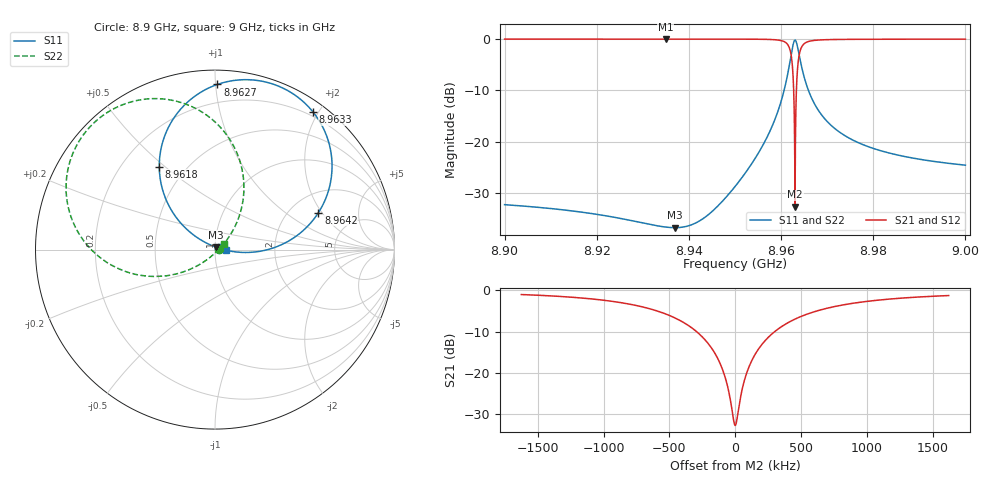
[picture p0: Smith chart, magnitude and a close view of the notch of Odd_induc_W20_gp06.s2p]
! Sonnet Data File
! From: emgraph Version : 16.52
! From Project: Resonator2_cp
! Data is De-embedded
! Data File Written: 10/09/2017 11:12:09
!< HDATE 10/09/2017 07:45:37
!< MDATE 10/09/2017 07:45:37
!< PARAMS
!< Length = 400.0
!< Pwid1 = 2000.0
!< Pwid2 = 2000.0
!< Air_gap = 12.0
!< Width = 20.0
!< gap = 6.0
!< END PARAMS
# GHZ S MA R 40.14000
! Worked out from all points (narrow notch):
!   1595 points, 8.9 GHz to 9 GHz, reference 40.14 ohm
!   highest |S21| = 0.00 dB at 8.935 GHz (marker M1); lowest = -32.7 dB at 8.963 GHz (marker M2)
!   notch at M2: 32.7 dB deep, 271 kHz wide at half that depth
!   lowest |S11| = -36.8 dB at 8.9369 GHz (marker M3), VSWR 1.03, Z = 40.5 + j1.1 ohm
!   |S11| at or under -10 dB: start of sweep to 8.9607 GHz; 8.965932 GHz to end of sweep
!   |S22| runs from -36.8 to -0.2 dB; largest |S21 - S12| = 0
!   S11 on the Smith chart (normalised r, x): 8.9 GHz: 1.05, +0.02; 8.9618 GHz: 0.36, +0.48; 8.9627 GHz: 0.08, +1.01; 8.9633 GHz: 0.14, +1.93; 8.9642 GHz: 2.82, +1.85; 9 GHz: 1.13, -0.01
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8.9  0.02428 18.1  0.9997 -76.3  0.9997 -76.3  0.02427 9.3
!< P1 F=8.9 Eeff=(5.24798951 -2.3049e-5) Z0=(40.1339254 8.93825e-5) R=0.0 C=0.0
!< P2 F=8.9 Eeff=(5.24798951 -2.3049e-5) Z0=(40.1339254 8.93825e-5) R=0.0 C=0.0
8.9167  0.02054 26.0  0.9998 -76.7  0.9998 -76.7  0.02052 0.6
8.9334  0.01503 54.9  0.9999 -77.5  0.9999 -77.5  0.01499 -29.8
8.935  0.01468 61.1  0.9999 -77.6  0.9999 -77.6  0.01463 -36.2
8.9369  0.01449 69.8  0.9999 -77.7  0.9999 -77.7  0.01443 -45.3
8.95  0.03645 134.6  0.9992 -79.8  0.9992 -79.8  0.03636 -114.4
8.9589  0.1756 144.9  0.9834 -88.0  0.9834 -88.0  0.1754 -141.6
8.9606  0.3095 138.9  0.948 -96.0  0.948 -96.0  0.3092 -151.8
8.9618  0.5568 123.9  0.821 -111.8  0.821 -111.8  0.5564 -169.5
8.96229  0.7445 109.5  0.6467 -126.0  0.6467 -126.0  0.744 175.1
8.962713  0.9204 89.2  0.335 -144.6  0.335 -144.6  0.9198 154.0
8.9629  0.9673 77.9  0.1421 -150.5  0.1421 -150.5  0.9666 142.3
8.963026  0.9772 69.9  0.02317 -77.6  0.02317 -77.6  0.9765 134.1
8.963125  0.9714 63.7  0.1125 -6.0  0.1125 -6.0  0.9707 127.7
8.963279  0.9411 54.5  0.2715 -8.3  0.2715 -8.3  0.9404 118.2
8.963611  0.8232 37.8  0.5403 -22.6  0.5403 -22.6  0.8227 100.9
8.964189  0.6117 19.6  0.7809 -40.3  0.7809 -40.3  0.6113 81.7
8.965103  0.4118 6.6  0.9075 -53.7  0.9075 -53.7  0.4116 67.1
8.966687  0.2623 -1.6  0.9637 -62.8  0.9637 -62.8  0.2622 56.5
8.972402  0.1264 -6.3  0.9918 -70.8  0.9918 -70.8  0.1264 44.8
8.9834  0.07756 -5.1  0.9969 -73.8  0.9969 -73.8  0.07754 37.6
9  0.05897 -2.9  0.9982 -75.0  0.9982 -75.0  0.05896 32.9
